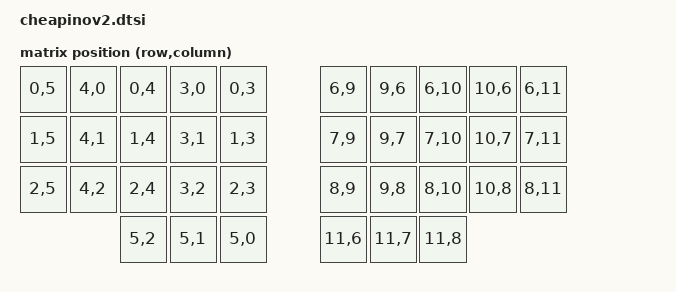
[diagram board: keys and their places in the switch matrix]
/*
 * Copyright (c) 2022 The ZMK Contributors
 *
 * SPDX-License-Identifier: MIT
 */

#include <dt-bindings/zmk/matrix_transform.h>
#include "cheapinov2-layout.dtsi"

&cheapino_layout {
    transform = <&default_transform>;
};

/ {
    chosen {
        zmk,kscan = &cheapino_scan;
        zmk,physical-layout = &cheapino_layout;
        transform = <&default_transform>;
    };

    default_transform: keymap_transform_0 {
        compatible = "zmk,matrix-transform";
        columns = <12>;
        rows = <12>;
        map = <
                RC(0,5) RC(4,0) RC(0,4) RC(3,0) RC(0,3)    RC(6,9) RC(9,6) RC(6,10) RC(10,6) RC(6,11)
                RC(1,5) RC(4,1) RC(1,4) RC(3,1) RC(1,3)    RC(7,9) RC(9,7) RC(7,10) RC(10,7) RC(7,11)
                RC(2,5) RC(4,2) RC(2,4) RC(3,2) RC(2,3)    RC(8,9) RC(9,8) RC(8,10) RC(10,8) RC(8,11)
                                RC(5,2) RC(5,1) RC(5,0)    RC(11,6) RC(11,7) RC(11,8)
        >;
    };


    cheapino_scan: kscan0 {
        compatible = "zmk,kscan-gpio-charlieplex";
//        interrupt-gpios	= 
//              <&xiao_d 3 (GPIO_ACTIVE_HIGH | GPIO_PULL_DOWN)> // Row 0
//            , <&xiao_d 2 (GPIO_ACTIVE_HIGH | GPIO_PULL_DOWN)>
//            , <&xiao_d 1 (GPIO_ACTIVE_HIGH | GPIO_PULL_DOWN)>
//            ;

        gpios
            // --- LEFT SIDE (Indices 0-5) ---
            = <&gpio0 27 (GPIO_ACTIVE_HIGH | GPIO_PULL_DOWN)> // Index 0
            , <&gpio0 28 (GPIO_ACTIVE_HIGH | GPIO_PULL_DOWN)> // Index 1
            , <&gpio0 29 (GPIO_ACTIVE_HIGH | GPIO_PULL_DOWN)> // Index 2
            , <&gpio0 14 (GPIO_ACTIVE_HIGH | GPIO_PULL_DOWN)> // Index 3
            , <&gpio0 15 (GPIO_ACTIVE_HIGH | GPIO_PULL_DOWN)> // Index 4
            , <&gpio0 26 (GPIO_ACTIVE_HIGH | GPIO_PULL_DOWN)> // Index 5

            // --- RIGHT SIDE (Indices 6-11) ---
            , <&gpio0  3 (GPIO_ACTIVE_HIGH | GPIO_PULL_DOWN)> // Index 6
            , <&gpio0  1 (GPIO_ACTIVE_HIGH | GPIO_PULL_DOWN)> // Index 7
            , <&gpio0  2 (GPIO_ACTIVE_HIGH | GPIO_PULL_DOWN)> // Index 8
            , <&gpio0  6 (GPIO_ACTIVE_HIGH | GPIO_PULL_DOWN)> // Index 9
            , <&gpio0  5 (GPIO_ACTIVE_HIGH | GPIO_PULL_DOWN)> // Index 10
            , <&gpio0  4 (GPIO_ACTIVE_HIGH | GPIO_PULL_DOWN)> // Index 11
            ;
    };
};
